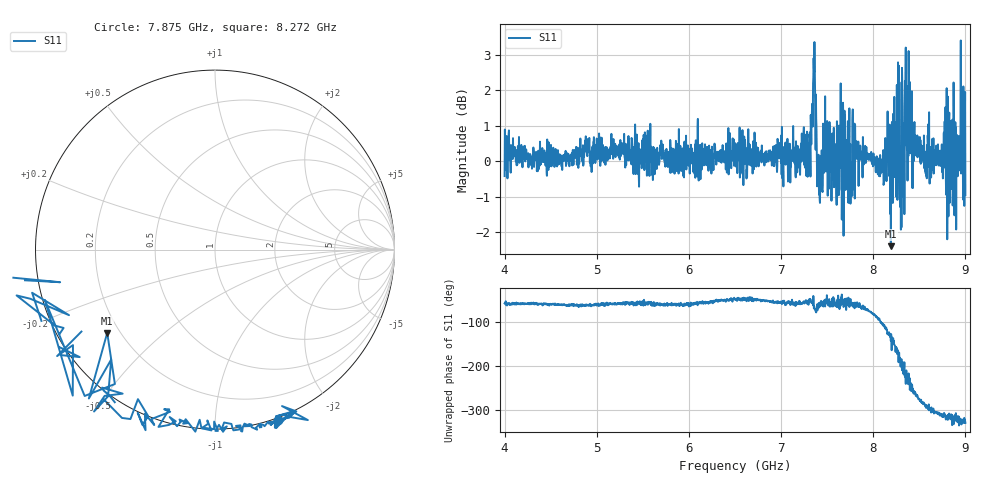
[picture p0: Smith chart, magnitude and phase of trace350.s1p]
! Created with skrf 1.8.0 (http://scikit-rf.org).
# Hz S RI R 50.0
!freq ReS11 ImS11
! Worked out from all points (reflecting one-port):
!   1601 points, 4 GHz to 9 GHz, reference 50 ohm
!   lowest |S11| = -2.4 dB at 8.191 GHz (marker M1), VSWR 7.29, Z = 7.64 - j16.7 ohm
!   phase of S11 starts at -57 deg and turns -273 deg over the sweep
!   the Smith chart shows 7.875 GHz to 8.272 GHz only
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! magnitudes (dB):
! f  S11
! 4 GHz  -0.4
! 4.028 GHz  0.2
! 4.625 GHz  -0.2
! 5.25 GHz  0.0
! 5.875 GHz  0.1
! 6.5 GHz  0.3
! 7.125 GHz  0.2
! 7.294 GHz  0.5
! 7.356 GHz  2.6
! 7.412 GHz  -0.9
! 7.503 GHz  0.1
! 7.6 GHz  -0.9
! 7.669 GHz  1.2
! 7.75 GHz  0.5
! 7.828 GHz  0.4
! 8.191 GHz  -2.4
! 8.253 GHz  0.4
! 8.294 GHz  -0.6
! 8.312 GHz  2.6
! 8.334 GHz  0.3
! 8.347 GHz  1.5
! 8.375 GHz  1.5
! 8.447 GHz  1.1
! 8.556 GHz  -0.2
! 8.784 GHz  1.5
! 8.841 GHz  1.1
! 8.972 GHz  -0.1
! 9 GHz  -1.0
